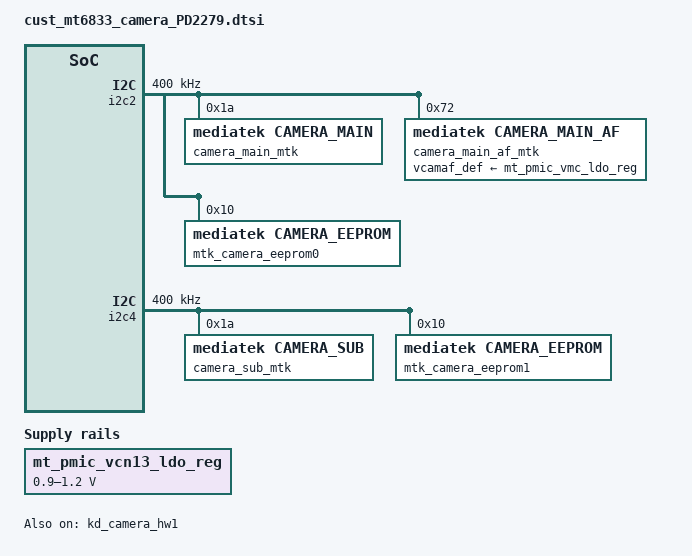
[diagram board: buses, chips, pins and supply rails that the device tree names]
/* SPDX-License-Identifier: GPL-2.0 */
/*
 * Copyright (c) 2019 MediaTek Inc.
*/
/* CAMERA GPIO standardization */
&pio {
	camera_pins_cam0_rst_0: cam0@0 {
		pins_cmd_dat {
			pinmux = <PINMUX_GPIO58__FUNC_GPIO58>;
			slew-rate = <1>;
			output-low;
		};
	};
	camera_pins_cam0_rst_1: cam0@1 {
		pins_cmd_dat {
			pinmux = <PINMUX_GPIO58__FUNC_GPIO58>;
			slew-rate = <1>;
			output-high;
		};
	};

	camera_pins_cam1_rst_0: cam1@0 {
		pins_cmd_dat {
			pinmux = <PINMUX_GPIO54__FUNC_GPIO54>;
			slew-rate = <1>;
			output-low;
		};
	};
	camera_pins_cam1_rst_1: cam1@1 {
		pins_cmd_dat {
			pinmux = <PINMUX_GPIO54__FUNC_GPIO54>;
			slew-rate = <1>;
			output-high;
		};
	};
	camera_pins_cam0_vcama1_0: cam0@vcam0 {
		pins_cmd_dat {
			pinmux = <PINMUX_GPIO55__FUNC_GPIO55>;
			slew-rate = <1>;
			output-low;
		};
	};
	camera_pins_cam0_vcama1_1: cam0@vcam1 {
		pins_cmd_dat {
			pinmux = <PINMUX_GPIO55__FUNC_GPIO55>;
			slew-rate = <1>;
			output-high;
		};
	};
	camera_pins_cam1_vcama1_0: cam1@vcam0 {
		pins_cmd_dat {
			pinmux = <PINMUX_GPIO55__FUNC_GPIO55>;
			slew-rate = <1>;
			output-low;
		};
	};
	camera_pins_cam1_vcama1_1: cam1@vcam1 {
		pins_cmd_dat {
			pinmux = <PINMUX_GPIO55__FUNC_GPIO55>;
			slew-rate = <1>;
			output-high;
		};
	};
	camera_pins_cam0_mclk_off: camera_pins_cam0_mclk_off {
		pins_cmd_dat {
			pinmux = <PINMUX_GPIO51__FUNC_GPIO51>;
			drive-strength = <0>;
		};
	};
	camera_pins_cam0_mclk_2ma: camera_pins_cam0_mclk_2ma {
		pins_cmd_dat {
			pinmux = <PINMUX_GPIO51__FUNC_CMMCLK2>;
			drive-strength = <0>;
		};
	};
	camera_pins_cam0_mclk_4ma: camera_pins_cam0_mclk_4ma {
		pins_cmd_dat {
			pinmux = <PINMUX_GPIO51__FUNC_CMMCLK2>;
			drive-strength = <1>;
		};
	};
	camera_pins_cam0_mclk_6ma: camera_pins_cam0_mclk_6ma {
		pins_cmd_dat {
			pinmux = <PINMUX_GPIO51__FUNC_CMMCLK2>;
			drive-strength = <2>;
		};
	};
	camera_pins_cam0_mclk_8ma: camera_pins_cam0_mclk_8ma {
		pins_cmd_dat {
			pinmux = <PINMUX_GPIO51__FUNC_CMMCLK2>;
			drive-strength = <3>;
		};
	};

	camera_pins_cam1_mclk_off: camera_pins_cam1_mclk_off {
		pins_cmd_dat {
			pinmux = <PINMUX_GPIO49__FUNC_GPIO49>;
			drive-strength = <0>;
		};
	};
	camera_pins_cam1_mclk_2ma: camera_pins_cam1_mclk_2ma {
		pins_cmd_dat {
			pinmux = <PINMUX_GPIO49__FUNC_CMMCLK0>;
			drive-strength = <0>;
		};
	};
	camera_pins_cam1_mclk_4ma: camera_pins_cam1_mclk_4ma {
		pins_cmd_dat {
			pinmux = <PINMUX_GPIO49__FUNC_CMMCLK0>;
			drive-strength = <1>;
		};
	};
	camera_pins_cam1_mclk_6ma: camera_pins_cam1_mclk_6ma {
		pins_cmd_dat {
			pinmux = <PINMUX_GPIO49__FUNC_CMMCLK0>;
			drive-strength = <2>;
		};
	};
	camera_pins_cam1_mclk_8ma: camera_pins_cam1_mclk_8ma {
		pins_cmd_dat {
			pinmux = <PINMUX_GPIO49__FUNC_CMMCLK0>;
			drive-strength = <3>;
		};
	};

	camera_pins_default: camdefault {
		pins_cmd0_dat {
			pinmux = <PINMUX_GPIO101__FUNC_SCL2>;
			slew-rate = <1>;
		};
		pins_cmd1_dat {
			pinmux = <PINMUX_GPIO102__FUNC_SDA2>;
			slew-rate = <1>;
		};
		pins_cmd2_dat {
			pinmux = <PINMUX_GPIO105__FUNC_SCL4>;
			slew-rate = <1>;
		};
		pins_cmd3_dat {
			pinmux = <PINMUX_GPIO106__FUNC_SDA4 >;
			slew-rate = <1>;
		};
	};
};
&kd_camera_hw1 {
	pinctrl-names = "default",
		"cam0_rst0", "cam0_rst1",
		"cam1_rst0", "cam1_rst1",
		"cam0_ldo_vcama1_0", "cam0_ldo_vcama1_1",
		"cam1_ldo_vcama1_0", "cam1_ldo_vcama1_1",
		"cam0_mclk_off",
		"cam0_mclk_2mA", "cam0_mclk_4mA",
		"cam0_mclk_6mA", "cam0_mclk_8mA",
		"cam1_mclk_off",
		"cam1_mclk_2mA", "cam1_mclk_4mA",
		"cam1_mclk_6mA", "cam1_mclk_8mA";

	pinctrl-0 = <&camera_pins_default>;
	pinctrl-1 = <&camera_pins_cam0_rst_0>;
	pinctrl-2 = <&camera_pins_cam0_rst_1>;
	pinctrl-3 = <&camera_pins_cam1_rst_0>;
	pinctrl-4 = <&camera_pins_cam1_rst_1>;
	pinctrl-5 = <&camera_pins_cam0_vcama1_0>;
	pinctrl-6 = <&camera_pins_cam0_vcama1_1>;
	pinctrl-7 = <&camera_pins_cam1_vcama1_0>;
	pinctrl-8 = <&camera_pins_cam1_vcama1_1>;
	pinctrl-9 = <&camera_pins_cam0_mclk_off>;
	pinctrl-10 = <&camera_pins_cam0_mclk_2ma>;
	pinctrl-11 = <&camera_pins_cam0_mclk_4ma>;
	pinctrl-12 = <&camera_pins_cam0_mclk_6ma>;
	pinctrl-13 = <&camera_pins_cam0_mclk_8ma>;
	pinctrl-14 = <&camera_pins_cam1_mclk_off>;
	pinctrl-15 = <&camera_pins_cam1_mclk_2ma>;
	pinctrl-16 = <&camera_pins_cam1_mclk_4ma>;
	pinctrl-17 = <&camera_pins_cam1_mclk_6ma>;
	pinctrl-18 = <&camera_pins_cam1_mclk_8ma>;

	gpio_nums = <4>;
	gpios = <101 102 105 106>;
	status = "okay";
};
/* CAMERA GPIO end */

/* GPS GPIO standardization end */

&i2c2 {
	#address-cells = <1>;
	#size-cells = <0>;
	clock-frequency = <400000>;
	mediatek,use-open-drain;
	camera_main_mtk:camera_main@1a {
		compatible = "mediatek,camera_main";
		reg = <0x1a>;
		status = "okay";
	};

	camera_main_af_mtk:camera_main_af@72 {
		compatible = "mediatek,camera_main_af";
		reg = <0x72>;
		status = "okay";
	};

	mtk_camera_eeprom0:camera_eeprom0@10 {
		compatible = "mediatek,camera_eeprom";
		reg = <0x10>;
		status = "okay";
	};
};

&i2c4 {
	#address-cells = <1>;
	#size-cells = <0>;
	clock-frequency = <400000>;
	mediatek,use-open-drain;
	camera_sub_mtk:camera_sub@1a {
		compatible = "mediatek,camera_sub";
		reg = <0x1a>;
		status = "okay";
	};

	mtk_camera_eeprom1:camera_eeprom1@10 {
		compatible = "mediatek,camera_eeprom";
		reg = <0x10>;
		status = "okay";
	};
};

/*************************
 * PMIC DTSI File
*************************/
&mt_pmic_vcamio_ldo_reg {
	regulator-name = "vcamio";
	regulator-default-on = <1>; /* 0:skip, 1: off, 2:on */
	status = "okay";
};

&mt_pmic_vio28_ldo_reg {
	regulator-name = "vio28";
	regulator-default-on = <1>; /* 0:skip, 1: off, 2:on */
	status = "okay";
};

&mt_pmic_vcn13_ldo_reg{
	regulator-name = "vcn13";
	regulator-min-microvolt = <900000>;
	regulator-max-microvolt = <1200000>;
	regulator-default-on = <1>; /* 0:skip, 1: off, 2:on */
	status = "okay";
};

&kd_camera_hw1 {
	cam0_vcamio-supply = <&mt_pmic_vcamio_ldo_reg>;/*6365 vcamio*/
	cam0_vcamd-supply = <&mt_pmic_vcn13_ldo_reg>;/*6365 DVDD*/
	cam0_vcama-supply = <&mt_pmic_vio28_ldo_reg>;
	cam0_vcamaf_def-supply = <&mt_pmic_vmc_ldo_reg>;

	cam1_vcamio-supply = <&mt_pmic_vcamio_ldo_reg>;
	cam1_vcamd-supply = <&mt_pmic_vcn13_ldo_reg>;/*6365 DVDD*/
	cam1_vcama-supply = <&mt_pmic_vio28_ldo_reg>;

	cam0_enable_sensor = "s5kjnspd2279_mipi_raw s5kjnsv1pd2279_mipi_raw";
	cam1_enable_sensor = "imx355pd2279_mipi_raw";
	status = "okay";
};

&camera_main_af_mtk{
	vcamaf_def-supply = <&mt_pmic_vmc_ldo_reg>;
	status = "okay";
};


&flashlights_mt6360 {
	decouple = <1>;
	channel@0 {
		type = <0>;
		ct = <0>;
		part = <0>;
	};
};
